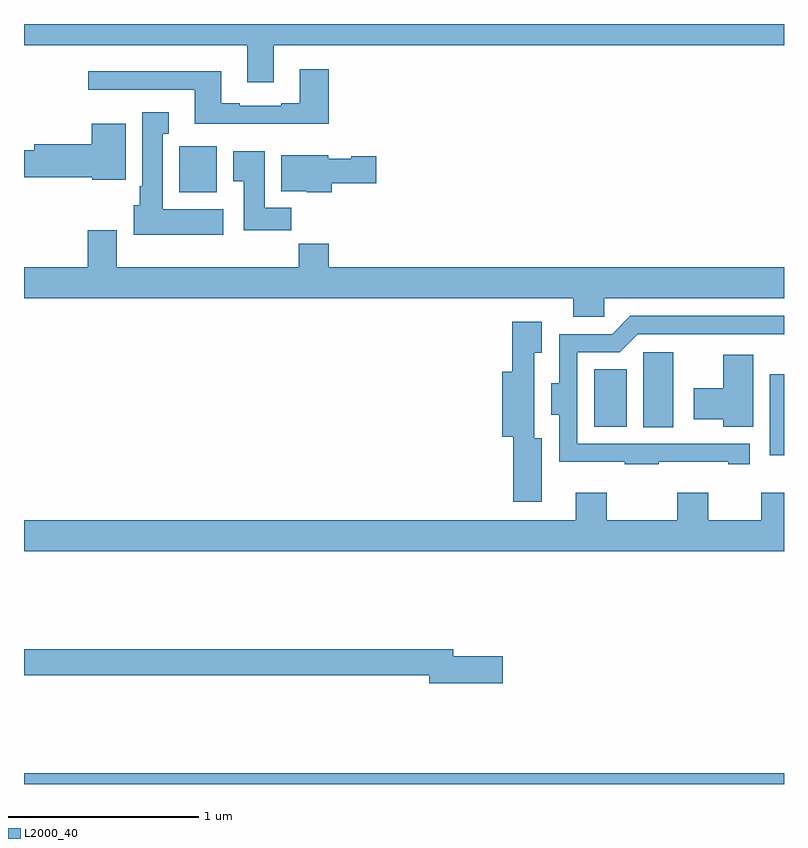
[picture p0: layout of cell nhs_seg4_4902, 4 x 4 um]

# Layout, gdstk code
import gdstk
lib = gdstk.Library(unit=1e-6, precision=1e-09)
def R(c, l, rs):  # rectangles x0, y0, x1, y1
    for r in rs: c.add(gdstk.rectangle(r[:2], r[2:], *l))
def P(c, l, *ps):  # polygons
    for p in ps: c.add(gdstk.Polygon(p, *l))
L2000_40 = (2000, 40)

nhs_seg4_4902 = lib.new_cell('nhs_seg4_4902')
R(nhs_seg4_4902, L2000_40, [(375,824.9,379,824.956), (378.926,826.629,379,827.056), (378.26,826.777,378.418,827.173), (378.002,826.781,378.172,827.083), (375.818,828.014,376.015,828.256)])
P(nhs_seg4_4902, L2000_40, [(376.315,828.788),(379,828.788),(379,828.9),(375,828.9),(375,828.788),(376.175,828.788),(376.175,828.594),(376.315,828.594)],
  [(376.604,828.661),(376.451,828.661),(376.451,828.484),(376.355,828.484),(376.355,828.471),(376.135,828.471),(376.135,828.484),(376.039,828.484),(376.039,828.652),(375.339,828.652),(375.339,828.555),(375.899,828.555),(375.899,828.374),(376.604,828.374)],
  [(376.048,827.926),(375.73,827.926),(375.73,828.323),(375.763,828.323),(375.763,828.436),(375.623,828.436),(375.623,828.046),(375.608,828.046),(375.608,827.946),(375.578,827.946),(375.578,827.792),(376.048,827.792)],
  [(375.535,828.376),(375.356,828.376),(375.356,828.266),(375.053,828.266),(375.053,828.236),(375,828.236),(375,828.094),(375.36,828.094),(375.36,828.08),(375.535,828.08)],
  [(376.406,827.932),(376.267,827.932),(376.267,828.229),(376.1,828.229),(376.1,828.073),(376.157,828.073),(376.157,827.814),(376.406,827.814)],
  [(376.619,828.061),(376.855,828.061),(376.855,828.203),(376.722,828.203),(376.722,828.19),(376.602,828.19),(376.602,828.208),(376.355,828.208),(376.355,828.02),(376.488,828.02),(376.488,828.014),(376.619,828.014)],
  [(378.054,827.456),(379,827.456),(379,827.62),(376.604,827.62),(376.604,827.744),(376.447,827.744),(376.447,827.62),(375.487,827.62),(375.487,827.815),(375.335,827.815),(375.335,827.62),(375,827.62),(375,827.456),(377.891,827.456),(377.891,827.358),(378.054,827.358)],
  [(378.341,826.595),(378.707,826.595),(378.707,826.584),(378.82,826.584),(378.82,826.692),(377.913,826.692),(377.913,827.172),(378.135,827.172),(378.231,827.268),(379,827.268),(379,827.364),(378.192,827.364),(378.096,827.268),(377.816,827.268),(377.816,827.008),(377.774,827.008),(377.774,826.844),(377.817,826.844),(377.817,826.595),(378.163,826.595),(378.163,826.584),(378.341,826.584)],
  [(377.725,826.72),(377.686,826.72),(377.686,827.171),(377.725,827.171),(377.725,827.332),(377.569,827.332),(377.569,827.071),(377.516,827.071),(377.516,826.727),(377.576,826.727),(377.576,826.386),(377.725,826.386)],
  [(378.838,827.158),(378.68,827.158),(378.68,826.984),(378.525,826.984),(378.525,826.82),(378.68,826.82),(378.68,826.781),(378.838,826.781)],
  [(379,826.432),(378.881,826.432),(378.881,826.288),(378.601,826.288),(378.601,826.432),(378.437,826.432),(378.437,826.288),(378.067,826.288),(378.067,826.432),(377.903,826.432),(377.903,826.288),(375,826.288),(375,826.124),(379,826.124)],
  [(377.521,825.572),(377.26,825.572),(377.26,825.608),(375,825.608),(375,825.472),(377.132,825.472),(377.132,825.43),(377.521,825.43)])

lib.write_gds('nhs_seg4_4902.gds')
